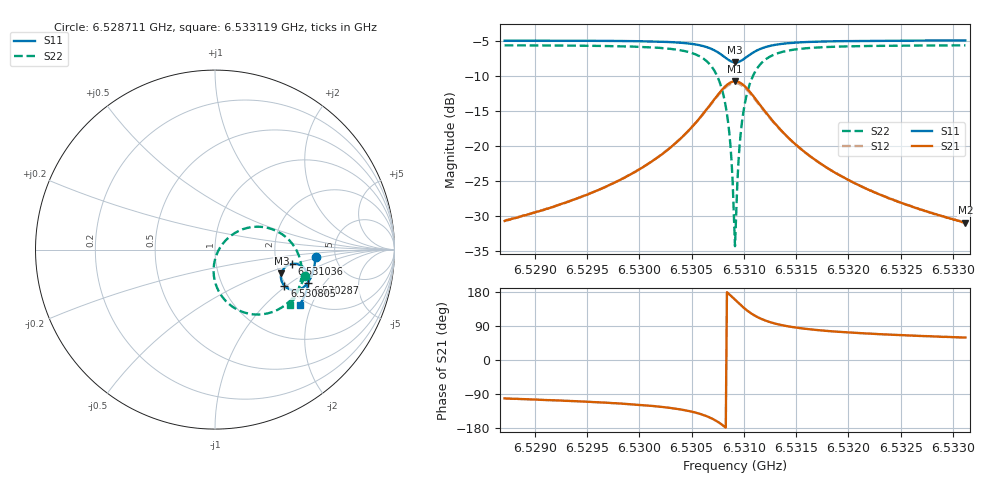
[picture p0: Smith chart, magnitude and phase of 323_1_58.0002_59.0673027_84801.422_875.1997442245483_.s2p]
#  HZ  S  RI  R  50.00
! Rohde & Schwarz Vector Network Analyzer
! Rohde-Schwarz,ZNB20-2Port,1311601062101988,3.16
! Created: UTC 3/21/2024, 1:04:46 AM
! freq[Hz]  re:S11  im:S11  re:S21  im:S21  re:S12  im:S12  re:S22  im:S22
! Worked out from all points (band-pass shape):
!   401 points, 6.528711 GHz to 6.533119 GHz, reference 50 ohm
!   highest |S21| = -10.80 dB at 6.530915 GHz (marker M1); lowest = -30.9 dB at 6.533119 GHz (marker M2)
!   |S21| within 3 dB of the highest: 6.530695 GHz to 6.531136 GHz (440.4 kHz wide, 0.00674 % of centre)
!   lowest |S11| = -8.1 dB at 6.530915 GHz (marker M3), VSWR 2.29, Z = 102 - j31.7 ohm
!   |S11| at or under -10 dB: nowhere
!   |S22| runs from -34.3 to -5.7 dB; largest |S21 - S12| = 0.011
!   S11 on the Smith chart (normalised r, x): 6.528711 GHz: 3.50, -0.43; 6.530287 GHz: 2.61, -1.39; 6.530805 GHz: 1.94, -0.96; 6.531036 GHz: 2.43, -0.48; 6.533119 GHz: 1.83, -1.65
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6.5287114e9  0.56 -0.0421  -0.00571 -0.0287  -0.00639 -0.0286  0.4994 -0.1462
6.5294496e9  0.551 -0.1028  -0.0146 -0.041  -0.0156 -0.0408  0.4711 -0.2136
6.5301878e9  0.5246 -0.1741  -0.0458 -0.0704  -0.0478 -0.0695  0.3948 -0.3063
6.530287e9  0.5169 -0.1855  -0.0565 -0.0774  -0.0588 -0.076  0.3719 -0.3225
6.5306396e9  0.4543 -0.2253  -0.1527 -0.0959  -0.1549 -0.0898  0.189 -0.357
6.5307388e9  0.4153 -0.221  -0.2132 -0.0726  -0.2128 -0.0639  0.0861 -0.3096
6.5308049e9  0.3863 -0.2012  -0.256 -0.0285  -0.2521 -0.0191  0.019 -0.2284
6.53086e9  0.3697 -0.1702  -0.2779 0.0318  -0.2701 0.0394  -0.00771 -0.1248
6.530871e9  0.3681 -0.1626  -0.279 0.0458  -0.2707 0.0527  -0.0075 -0.1016
6.530893e9  0.3675 -0.1471  -0.2771 0.0743  -0.2679 0.0798  0.000216 -0.0546
6.530904e9  0.3683 -0.1392  -0.2738 0.0887  -0.2644 0.0933  0.00743 -0.0314
6.530915e9  0.3702 -0.1313  -0.2696 0.1026  -0.2598 0.1065  0.0171 -0.00905
6.5309261e9  0.3729 -0.1238  -0.2636 0.1164  -0.2538 0.1191  0.029 0.0123
6.5309371e9  0.3762 -0.1166  -0.2565 0.1292  -0.2466 0.1311  0.0428 0.0323
6.5309591e9  0.3853 -0.1038  -0.2388 0.1522  -0.2295 0.1524  0.0754 0.0669
6.5309812e9  0.3964 -0.0934  -0.218 0.1705  -0.2095 0.1695  0.1128 0.0938
6.5310363e9  0.4278 -0.0796  -0.1609 0.1954  -0.1551 0.193  0.2113 0.1263
6.5311134e9  0.4664 -0.083  -0.0931 0.1938  -0.0901 0.1912  0.3254 0.1108
6.5312236e9  0.4989 -0.1055  -0.0359 0.164  -0.0344 0.1626  0.4183 0.0469
6.5316533e9  0.5205 -0.1813  0.0138 0.0813  0.0148 0.081  0.4828 -0.1293
6.5323915e9  0.5006 -0.2539  0.0165 0.0389  0.0172 0.0388  0.4555 -0.2447
6.5331187e9  0.4727 -0.3072  0.0145 0.0244  0.015 0.0242  0.4203 -0.3067
